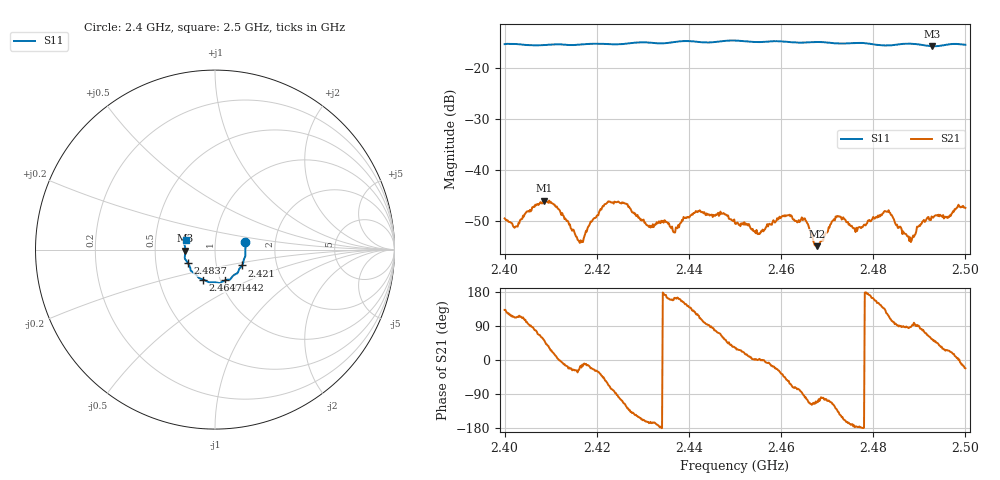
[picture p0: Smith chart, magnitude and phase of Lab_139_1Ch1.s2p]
# Hz S RI R 50
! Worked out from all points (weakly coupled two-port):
!   601 points, 2.4 GHz to 2.5 GHz, reference 50 ohm
!   highest |S21| = -45.98 dB at 2.4085 GHz (marker M1); lowest = -55.0 dB at 2.4678 GHz (marker M2)
!   lowest |S11| = -15.6 dB at 2.4928 GHz (marker M3), VSWR 1.40, Z = 35.8 - j0.372 ohm
!   |S11| at or under -10 dB: start of sweep to end of sweep
!   S12 and S22 are empty: the file has one direction only
!   S11 on the Smith chart (normalised r, x): 2.4 GHz: 1.40, +0.12; 2.421 GHz: 1.33, -0.24; 2.4442 GHz: 1.05, -0.37; 2.4647 GHz: 0.83, -0.29; 2.4837 GHz: 0.73, -0.11; 2.5 GHz: 0.72, +0.08
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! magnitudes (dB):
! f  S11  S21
! 2.4 GHz  -15.2  -49.5
! 2.4023 GHz  -15.2  -51.1
! 2.4085 GHz  -15.4  -46.0
! 2.4167 GHz  -15.3  -54.2
! 2.421 GHz  -15.1  -47.8
! 2.426 GHz  -15.2  -46.5
! 2.4333 GHz  -15.1  -50.4
! 2.437 GHz  -14.8  -52.3
! 2.4442 GHz  -14.9  -48.7
! 2.45 GHz  -14.5  -50.5
! 2.455 GHz  -14.8  -52.6
! 2.4607 GHz  -14.7  -49.1
! 2.4647 GHz  -14.9  -49.8
! 2.4667 GHz  -14.8  -52.6
! 2.4678 GHz  -14.8  -55.0
! 2.4723 GHz  -15.1  -49.1
! 2.4762 GHz  -15.0  -52.2
! 2.4833 GHz  -15.5  -47.9
! 2.4837 GHz  -15.5  -48.4
! 2.488 GHz  -15.1  -53.2
! 2.4928 GHz  -15.6  -49.3
! 2.5 GHz  -15.3  -47.4
